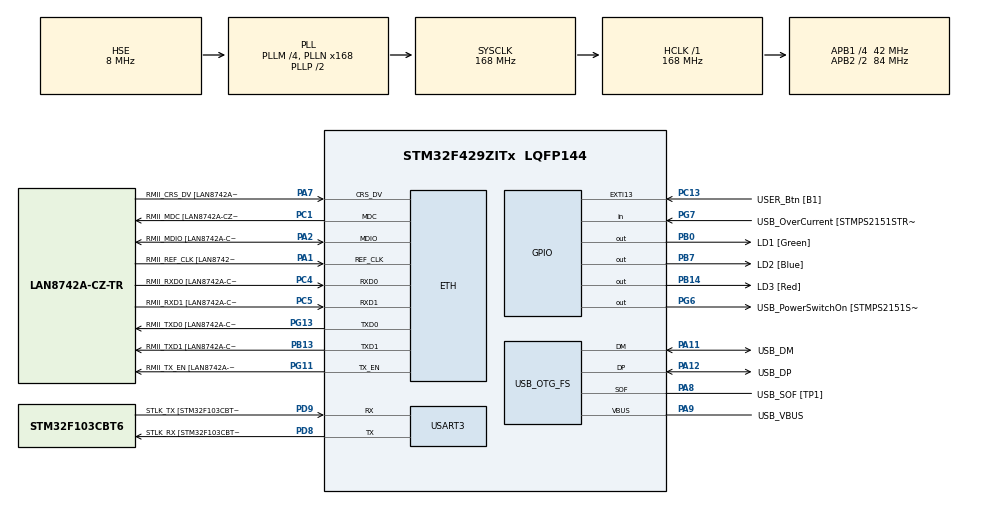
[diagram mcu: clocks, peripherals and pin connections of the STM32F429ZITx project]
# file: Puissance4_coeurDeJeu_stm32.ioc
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Mcu.Family=STM32F4
RCC.CortexFreq_Value=168000000
PG6.Signal=GPIO_Output
PB14.GPIO_Label=LD3 [Red]
PG6.GPIO_Label=USB_PowerSwitchOn [STMPS2151STR_EN]
PA14.GPIO_Label=TCK
RCC.SYSCLKSourceVirtual=RCC_SYSCLKSOURCE_PLLCLK
PA11.Mode=Device_Only
PB0.GPIO_Label=LD1 [Green]
PC14/OSC32_IN.Mode=LSE-External-Oscillator
PC5.Mode=RMII
PC13.GPIO_Label=USER_Btn [B1]
PB13.GPIO_Label=RMII_TXD1 [LAN8742A-CZ-TR_TXD1]
PB13.Signal=ETH_TXD1
PG13.Signal=ETH_TXD0
PD9.Mode=Asynchronous
PG11.Signal=ETH_TX_EN
RCC.SYSCLKSource=RCC_SYSCLKSOURCE_PLLCLK
ProjectManager.StackSize=0x400
PA12.Signal=USB_OTG_FS_DP
ETH.PHY_Value=0
PH0/OSC_IN.Mode=HSE-External-Clock-Source
RCC.HCLKFreq_Value=168000000
RCC.APB2TimFreq_Value=168000000
PH1/OSC_OUT.Signal=RCC_OSC_OUT
PD8.Signal=USART3_TX
RCC.AHBFreq_Value=168000000
RCC.HSE_VALUE=8000000
RCC.PLLMUL=RCC_PLL_MUL9
PC4.GPIO_Label=RMII_RXD0 [LAN8742A-CZ-TR_RXD0]
PA14.Mode=Serial_Wire
PA10.GPIO_Label=USB_ID
PB7.Signal=GPIO_Output
PA8.Signal=USB_OTG_FS_SOF
PG13.Mode=RMII
ETH.PHY_Name=LAN8742A_PHY_ADDRESS
PH1/OSC_OUT.Mode=HSE-External-Clock-Source
PB7.GPIO_Label=LD2 [Blue]
Mcu.Package=LQFP144
PC14/OSC32_IN.Signal=RCC_OSC32_IN
PA2.GPIO_Label=RMII_MDIO [LAN8742A-CZ-TR_MDIO]
PA10.Signal=USB_OTG_FS_ID
USB_OTG_FS.VirtualMode=Device_Only
RCC.APB2CLKDivider=RCC_HCLK_DIV2
RCC.APB1TimFreq_Value=84000000
PG11.GPIO_Label=RMII_TX_EN [LAN8742A-CZ-TR_TXEN]
PC5.Signal=ETH_RXD1
PB13.Mode=RMII
PC4.Mode=RMII
PA7.Mode=RMII
PG7.Signal=GPIO_Input
PD9.GPIO_Label=STLK_TX [STM32F103CBT6_PA2]
PC13.Signal=GPXTI13
PA9.GPIO_Label=USB_VBUS
PC4.Signal=ETH_RXD0
PA11.GPIO_Label=USB_DM
PD9.Signal=USART3_RX
RCC.APB1CLKDivider=RCC_HCLK_DIV4
PG13.GPIO_Label=RMII_TXD0 [LAN8742A-CZ-TR_TXD0]
ETH.PhyAddress=0
PA12.GPIO_Label=USB_DP
PD8.GPIO_Label=STLK_RX [STM32F103CBT6_PA3]
PA13.Signal=SYS_JTMS-SWDIO
PA9.Mode=Activate_VBUS
PA8.GPIO_Label=USB_SOF [TP1]
ProjectManager.TargetToolchain=TrueSTUDIO
PA9.Signal=USB_OTG_FS_VBUS
RCC.USBFreq_Value=48000000
PD8.Mode=Asynchronous
PA1.Signal=ETH_REF_CLK
PB14.Signal=GPIO_Output
board=NUCLEO-F429ZI
RCC.VCOOutputFreq_Value=336000000
PH0/OSC_IN.Signal=RCC_OSC_IN
RCC.APB2Freq_Value=84000000
PA1.Mode=RMII
RCC.PRESCALERUSB=RCC_USBCLKSOURCE_PLL_DIV1_5
PG7.GPIO_Label=USB_OverCurrent [STMPS2151STR_FAULT]
PA1.GPIO_Label=RMII_REF_CLK [LAN8742A-CZ-TR_REFCLK0]
PC1.GPIO_Label=RMII_MDC [LAN8742A-CZ-TR_MDC]
PA13.Mode=Serial_Wire
Mcu.Name=STM32F429ZITx
PA2.Signal=ETH_MDIO
PA13.GPIO_Label=TMS
RCC.APB2TimCLKDivider=2
RCC.48MHZClocksFreq_Value=48000000
RCC.SYSCLKFreq_VALUE=168000000
ETH.MediaInterface=ETH_MEDIA_INTERFACE_RMII
PA7.GPIO_Label=RMII_CRS_DV [LAN8742A-CZ-TR_CRS_DV]
PA12.Mode=Device_Only
PC5.GPIO_Label=RMII_RXD1 [LAN8742A-CZ-TR_RXD1]
USART3.VirtualMode=VM_ASYNC
PC15/OSC32_OUT.Mode=LSE-External-Oscillator
PG11.Mode=RMII
PA11.Signal=USB_OTG_FS_DM
PA14.Signal=SYS_JTCK-SWCLK
ProjectManager.HeapSize=0x200
RCC.HSI_VALUE=16000000
PH0/OSC_IN.GPIO_Label=MCO [STM32F103CBT6_PA8]
RCC.PLLQ=7
NVIC.PriorityGroup=NVIC_PRIORITYGROUP_4
RCC.PLLM=4
RCC.PLLN=168
PA2.Mode=RMII
PC15/OSC32_OUT.Signal=RCC_OSC32_OUT
PA8.Mode=Activate_SOF_FS
RCC.APB1Freq_Value=42000000
PB0.Signal=GPIO_Output
PC1.Signal=ETH_MDC
PC1.Mode=RMII
PA7.Signal=ETH_CRS_DV

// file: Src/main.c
/* USER CODE BEGIN Header */
/**
  ******************************************************************************
  * @file           : main.c
  * @brief          : Main program body
  ******************************************************************************
  * @attention
  *
  * <h2><center>&copy; Copyright (c) 2020 STMicroelectronics.
  * All rights reserved.</center></h2>
  *
  * This software component is licensed by ST under BSD 3-Clause license,
  * the "License"; You may not use this file except in compliance with the
  * License. You may obtain a copy of the License at:
  *                        opensource.org/licenses/BSD-3-Clause
  *
  ******************************************************************************
  */
/* USER CODE END Header */

#include "main.h"

/* USER CODE BEGIN Includes */
#include<stdio.h>
#include"debug.h"
#include"game_p4.h"
#include<stdlib.h>
#include<stdint.h>
#include<unistd.h>
#include<pthread.h>
#include<semaphore.h>
#include"queue.h"
#include"leds_control.h"
#include<string.h>
/* USER CODE END Includes */

/* USER CODE BEGIN PTD */
//Game pads controls
typedef enum {
	PAD_1 = 49,
	PAD_2 = 50,
	DOWN_PAD = 100,
	LEFT_PAD = 108,
	RIGHT_PAD = 114,
	UP_PAD = 117
} Pads_controls;

//Pad command Identifier
typedef enum {
	NO_PAD, PAD_1_COMMAND, PAD_2_COMMAND
} Pad_Identifier;

// Victory type command enum.
typedef enum {
	LINE_VICTORY, COL_VICTORY, RIGHT_DIAG_VICTORY, LEFT_DIAG_VICTORY
} Display_victory_command;

//Game mode enum.
typedef enum {
	NUMBERS, CONNECT_4
} Display_mode_command;

//Game Status enum.
typedef enum {
	RESET, PLAY, GAME_END
} Display_status_command;

//Game move commands enum.
typedef enum {
	DOWN_COMMAND, UP_COMMAND, LEFT_COMMAND, RIGHT_COMMAND, NEXT_PLAYER_COMMAND
} Move_command;
/* USER CODE END PTD */

/* USER CODE BEGIN PD */
// ASCII and OFFSETS regulators.
#define LED_PANEL_OFFSET 1
#define TOP_ROW_OFFSET 1

#define WRITE_QUEUE_BUFFER_SIZE 8
#define READ_BUTTON_BUFFER_SIZE 4
#define READ_QUEUE_BUFFER_SIZE 3
/* USER CODE END PD */

ETH_HandleTypeDef heth;

UART_HandleTypeDef huart3;

PCD_HandleTypeDef hpcd_USB_OTG_FS;

/* USER CODE BEGIN PV */
//Global Static Vars, inter-thread communication.
static struct Queue* read_queue;
static struct Queue* write_queue;
static pthread_t thread_id;
static pthread_t write_thread_id_set;
//static pthread_t write_thread_id_blink;

static victory_infos_struct victory_infos;

//Defined colors table of structs.
static led colors[7] = { { COLOR_ON, COLOR_OFF, COLOR_OFF }, { COLOR_OFF,
		COLOR_ON,
		COLOR_OFF }, { COLOR_OFF, COLOR_OFF, COLOR_ON }, { COLOR_ON,
				COLOR_ON, COLOR_ON }, { COLOR_ON, COLOR_OFF, COLOR_ON }, { COLOR_ON,
						COLOR_ON, COLOR_OFF }, { COLOR_OFF, COLOR_OFF, COLOR_OFF } };

/* USER CODE END PV */

void SystemClock_Config(void);
static void MX_GPIO_Init(void);
static void MX_ETH_Init(void);
static void MX_USART3_UART_Init(void);
static void MX_USB_OTG_FS_PCD_Init(void);

/* USER CODE BEGIN 0 */

//Send message through queues, inter-thread communication.
void SendMessage(Queue_id queue, char* message, int message_length) {

	if (queue == QUEUE_READ) {
		if (message_length <= READ_QUEUE_BUFFER_SIZE) {
			add_to_Queue(read_queue, message);
			sem_post(&read_queue->semaphore);
			printf("Message sent.\n");
		} else
			printf("Send message Failed ! Buffer Overflow !\n");
	} else if (queue == QUEUE_WRITE) {
		if (message_length <= WRITE_QUEUE_BUFFER_SIZE) {
			add_to_Queue(write_queue, message);
			sem_post(&write_queue->semaphore);
			printf("Message sent.\n");
		} else
			printf("Send message Failed ! Buffer Overflow !\n");
	} else
		printf("Send message Failed ! Queue unidentified !\n");
}

//Receive message through queues, inter-thread communication.
int ReceiveMessage(Queue_id queue, char* message, int message_length) {
	if (queue == QUEUE_WRITE) {
		if (message_length >= WRITE_QUEUE_BUFFER_SIZE) {
			//sem_wait(&write_queue->semaphore);
			int status = del_from_Queue(write_queue, message);
			//printf("Message received.\n");
			return status;
		} else {
			printf("Receive message failed ! Buffer Overflow !\n");
			return -1;
		}
	} else if (queue == QUEUE_READ) {
		if (message_length >= READ_QUEUE_BUFFER_SIZE) {
			sem_wait(&read_queue->semaphore);
			del_from_Queue(read_queue, message);
			printf("Message received.\n");
			return 0;
		} else {
			printf("Receive message failed ! Buffer Overflow !\n");
			return -1;
		}
	}
	printf("Receive message failed ! Queue unidentified !\n");
	return -1;
}

//Input reading and decoding thread handler.
void *thread_handler_read(void* args) {
	char button_read[READ_BUTTON_BUFFER_SIZE];
	int error;
	char command[READ_QUEUE_BUFFER_SIZE];

	while (1) {
		//Get input.
		error = readbutton(button_read, (READ_BUTTON_BUFFER_SIZE + 1));
		if (error != 0)
			printf("%d\n", error);

		//Debug input print.
		if (button_read[3] == DOWN_PAD)
			printf("Button press read: %d %d %d %d\n", button_read[0],
					button_read[1], button_read[2], button_read[3]);

		//Process input.
		if (button_read[3] == DOWN_PAD && button_read[2] == UP_PAD) {
			if (button_read[1] == PAD_1) {
				command[0] = UP_COMMAND;
				command[1] = PAD_1_COMMAND;
			} else if (button_read[1] == PAD_2) {
				command[0] = UP_COMMAND;
				command[1] = PAD_2_COMMAND;
			}
		} else if (button_read[3] == DOWN_PAD && button_read[2] == DOWN_PAD) {
			if (button_read[1] == PAD_1) {
				command[0] = DOWN_COMMAND;
				command[1] = PAD_1_COMMAND;
			} else if (button_read[1] == PAD_2) {
				command[0] = DOWN_COMMAND;
				command[1] = PAD_2_COMMAND;
			}
		} else if (button_read[3] == DOWN_PAD && button_read[2] == LEFT_PAD) {
			if (button_read[1] == PAD_1) {
				command[0] = LEFT_COMMAND;
				command[1] = PAD_1_COMMAND;
			} else if (button_read[1] == PAD_2) {
				command[0] = LEFT_COMMAND;
				command[1] = PAD_2_COMMAND;
			}
		} else if (button_read[3] == DOWN_PAD && button_read[2] == RIGHT_PAD) {
			if (button_read[1] == PAD_1) {
				command[0] = RIGHT_COMMAND;
				command[1] = PAD_1_COMMAND;
			} else if (button_read[1] == PAD_2) {
				command[0] = RIGHT_COMMAND;
				command[1] = PAD_2_COMMAND;
			}
		} else
			continue;

		//Send processed command to read queue.
		SendMessage(QUEUE_READ, command, READ_QUEUE_BUFFER_SIZE);
	}
	pthread_detach(pthread_self());
	pthread_exit(NULL);
	return 0;
}

void *thread_handler_app(void* args) {

	//Game initializations.
	initialize_victory_struct();
	debug_setlevel(2);
	gp4_init();
	int restart = 0;
	move_t move;
	move.player = 1;
	char tmp_message[WRITE_QUEUE_BUFFER_SIZE];
	char tmp_command[READ_QUEUE_BUFFER_SIZE];
	while (1) {
		if (restart != 0) {
			initialize_victory_struct();
			gp4_init();
			restart = 0;
			move.player = 1;
			sleep(1);
		}
		while (1) {
			//Wait message from reading queue.
			ReceiveMessage(QUEUE_READ, tmp_command, READ_QUEUE_BUFFER_SIZE);
			printf("App handler received: %d %d\n", tmp_command[0], tmp_command[1]);

			//Process message from reading queue.

			//If DOWN button is pushed.
			if (tmp_command[0] == DOWN_COMMAND && tmp_command[1] == move.player) {
				move = gp4_play_token();
				tmp_message[0] = CONNECT_4;
				tmp_message[1] = PLAY;
				tmp_message[2] = DOWN_COMMAND;
				tmp_message[3] = move.player_color;
				tmp_message[4] = move.beg.l;
				tmp_message[5] = move.beg.c;
				tmp_message[6] = move.end.l;
				tmp_message[7] = move.end.c;
				SendMessage(QUEUE_WRITE, tmp_message, WRITE_QUEUE_BUFFER_SIZE);
				sleep(1);
				victory_infos = gp4_check_winner();
				if (victory_infos.game_end != 0) {
					break;
				}
				move = gp4_next_player();
				tmp_message[0] = CONNECT_4;
				tmp_message[1] = PLAY;
				tmp_message[2] = NEXT_PLAYER_COMMAND;
				tmp_message[3] = move.player_color;
				tmp_message[4] = move.beg.l;
				tmp_message[5] = move.beg.c;
				tmp_message[6] = move.end.l;
				tmp_message[7] = move.end.c;
				SendMessage(QUEUE_WRITE, tmp_message, WRITE_QUEUE_BUFFER_SIZE);
				continue;
				//If LEFT button is pushed.
			} else if (tmp_command[0] == LEFT_COMMAND
					&& tmp_command[1] == move.player) {
				move = gp4_move_left();
				tmp_message[0] = CONNECT_4;
				tmp_message[1] = PLAY;
				tmp_message[2] = LEFT_COMMAND;
				tmp_message[3] = move.player_color;
				tmp_message[4] = move.beg.l;
				tmp_message[5] = move.beg.c;
				tmp_message[6] = move.end.l;
				tmp_message[7] = move.end.c;
				SendMessage(QUEUE_WRITE, tmp_message, WRITE_QUEUE_BUFFER_SIZE);
				continue;
				//If RIGHT button is pushed.
			} else if (tmp_command[0] == RIGHT_COMMAND
					&& tmp_command[1] == move.player) {
				move = gp4_move_right();
				tmp_message[0] = CONNECT_4;
				tmp_message[1] = PLAY;
				tmp_message[2] = RIGHT_COMMAND;
				tmp_message[3] = move.player_color;
				tmp_message[4] = move.beg.l;
				tmp_message[5] = move.beg.c;
				tmp_message[6] = move.end.l;
				tmp_message[7] = move.end.c;
				SendMessage(QUEUE_WRITE, tmp_message, WRITE_QUEUE_BUFFER_SIZE);
				continue;
			}
		}
		//Victory processing
		if (victory_infos.game_end == 1) {
			printf("Game end : %d\nWinner: %d\nVictory Type : %d\n",
					victory_infos.game_end, victory_infos.winner_player,
					victory_infos.victory_type);
			printf("Coordonnées du jeton de victoire: Ligne %d Colonne %d\n",
					victory_infos.victory_token_coord[0] + 1,
					victory_infos.victory_token_coord[1] + 1);
			printf(
					"Alignement victorieux:\nJeton 1: Ligne %d Colonne %d\nJeton 2: Ligne %d Colonne %d\nJeton 3: Ligne"
					" %d Colonne %d\nJeton 4: Ligne %d Colonne %d\n",
					victory_infos.victory_line_tokens_coord[0][0] + 1,
					victory_infos.victory_line_tokens_coord[0][1] + 1,
					victory_infos.victory_line_tokens_coord[1][0] + 1,
					victory_infos.victory_line_tokens_coord[1][1] + 1,
					victory_infos.victory_line_tokens_coord[2][0] + 1,
					victory_infos.victory_line_tokens_coord[2][1] + 1,
					victory_infos.victory_line_tokens_coord[3][0] + 1,
					victory_infos.victory_line_tokens_coord[3][1] + 1);
			printf("\n");
			//Victory Blink coordinates processing.
			if (victory_infos.victory_type == HORIZONTAL) {
				tmp_message[2] = LINE_VICTORY;
			} else if (victory_infos.victory_type == VERTICAL) {
				tmp_message[2] = COL_VICTORY;
			} else if (victory_infos.victory_type == RIGHT_DIAGONAL) {
				tmp_message[2] = RIGHT_DIAG_VICTORY;
			} else if (victory_infos.victory_type == LEFT_DIAGONAL) {
				tmp_message[2] = LEFT_DIAG_VICTORY;
			}
			tmp_message[0] = CONNECT_4;
			tmp_message[1] = GAME_END;
			tmp_message[3] = move.player_color;
			tmp_message[4] = victory_infos.victory_line_tokens_coord[0][0];
			tmp_message[5] = victory_infos.victory_line_tokens_coord[0][1];
			tmp_message[6] = victory_infos.victory_line_tokens_coord[3][0];
			tmp_message[7] = victory_infos.victory_line_tokens_coord[3][1];
			SendMessage(QUEUE_WRITE, tmp_message, WRITE_QUEUE_BUFFER_SIZE);
		} else if (victory_infos.game_end == 2) {
			printf("Draw. Game Over.\n");
		}
		sleep(60);
		//Emptying Grid (turn leds off).
		tmp_message[0] = CONNECT_4;
		tmp_message[1] = RESET;
		tmp_message[2] = 0;
		tmp_message[3] = 0;
		tmp_message[4] = 0;
		tmp_message[5] = 0;
		tmp_message[6] = 0;
		tmp_message[7] = 0;
		SendMessage(QUEUE_WRITE, tmp_message, WRITE_QUEUE_BUFFER_SIZE);
		sleep(5);
		restart += 1;
	}
	pthread_detach(pthread_self());
	pthread_exit(NULL);
	return 0;
}

//Led panel controlling handler and blinking handler. 2 THREADS !.
void *thread_handler_write(void* args) {
	int receive_count = 1;
	char tmp_message_write[8];
	tmp_message_write[3] = 1;
	setLedColor(1, 1, colors[GREEN].RValue, colors[GREEN].GValue,
			colors[GREEN].BValue);
	while (1) {
		//if (pthread_self() == write_thread_id_set) {
		//Wait message from writing queue.
		if (ReceiveMessage(QUEUE_WRITE, tmp_message_write,
				WRITE_QUEUE_BUFFER_SIZE) == 0) {
			printf("Write handler received: %d %d %d %d %d %d %d %d\n",
					tmp_message_write[0], tmp_message_write[1],
					tmp_message_write[2], tmp_message_write[3],
					tmp_message_write[4], tmp_message_write[5],
					tmp_message_write[6], tmp_message_write[7]);

			if (tmp_message_write[0] == CONNECT_4) {

				//Console Display
				gp4_display();
				//Empty grid condition.
				if (tmp_message_write[1] == RESET) {
					for (int row = 2; row < 8; row++) {
						for (int col = 1; col < 8; col++) {
							setLedColor(row, col, colors[BLACK].RValue,
									colors[BLACK].GValue, colors[BLACK].BValue);
						}
					}
					break;
				}
				receive_count += 1;
				if (tmp_message_write[1] == PLAY) {
					//If DOWN button pressed. Validation animation.
					if (tmp_message_write[2] == DOWN_COMMAND) {
						printf("VALIDATION\n");
						receive_count = 0;
						for (int row = 2;
								row <= (tmp_message_write[6] + LED_PANEL_OFFSET);
								row++) {
							setLedColor(row - 1,
									(tmp_message_write[7] + LED_PANEL_OFFSET),
									colors[BLACK].RValue, colors[BLACK].GValue,
									colors[BLACK].BValue);
							setLedColor(row,
									(tmp_message_write[7] + LED_PANEL_OFFSET),
									colors[(int) tmp_message_write[3]].RValue,
									colors[(int) tmp_message_write[3]].GValue,
									colors[(int) tmp_message_write[3]].BValue);
							usleep(150000);
						}
						//If LEFT or RIGHT button pressed. Side move animation.
					} else if (tmp_message_write[2] == LEFT_COMMAND
							|| tmp_message_write[2] == RIGHT_COMMAND) {
						setLedColor(1,
								(tmp_message_write[5] + LED_PANEL_OFFSET),
								colors[BLACK].RValue, colors[BLACK].GValue,
								colors[BLACK].BValue);
						setLedColor(1,
								(tmp_message_write[7] + LED_PANEL_OFFSET),
								colors[(int) tmp_message_write[3]].RValue,
								colors[(int) tmp_message_write[3]].GValue,
								colors[(int) tmp_message_write[3]].BValue);
						//Next Player animation, change color and replace play token.
					} else if (tmp_message_write[2] == NEXT_PLAYER_COMMAND) {
						setLedColor(1,
								(tmp_message_write[7] + LED_PANEL_OFFSET),
								colors[(int) tmp_message_write[3]].RValue,
								colors[(int) tmp_message_write[3]].GValue,
								colors[(int) tmp_message_write[3]].BValue);
					}
					//Line victory blink.
				} else if (tmp_message_write[1] == GAME_END) {
					if (tmp_message_write[2] == LINE_VICTORY) {
						receive_count = 0;
						for (int count = 0; count < 30; count++) {
							for (int col = (tmp_message_write[5]
															  + LED_PANEL_OFFSET);
									col
									<= (tmp_message_write[7]
														  + LED_PANEL_OFFSET);
									col++) {
								setLedColor(
										tmp_message_write[4] + LED_PANEL_OFFSET
										+ TOP_ROW_OFFSET, col,
										colors[BLACK].RValue,
										colors[BLACK].GValue,
										colors[BLACK].BValue);
							}
							sleep(1);
							for (int col = (tmp_message_write[5]
															  + LED_PANEL_OFFSET);
									col
									<= (tmp_message_write[7]
														  + LED_PANEL_OFFSET);
									col++) {
								setLedColor(
										tmp_message_write[4] + LED_PANEL_OFFSET
										+ TOP_ROW_OFFSET, col,
										colors[(int) tmp_message_write[3]].RValue,
										colors[(int) tmp_message_write[3]].GValue,
										colors[(int) tmp_message_write[3]].BValue);
							}
							sleep(1);
						}
						//Column victory blink.
					} else if (tmp_message_write[2] == COL_VICTORY) {
						receive_count = 0;
						for (int count = 0; count < 30; count++) {
							for (int row = (tmp_message_write[4]
															  + LED_PANEL_OFFSET + TOP_ROW_OFFSET);
									row
									<= (tmp_message_write[6]
														  + LED_PANEL_OFFSET
														  + TOP_ROW_OFFSET); row++) {
								setLedColor(row,
										tmp_message_write[5] + LED_PANEL_OFFSET,
										colors[BLACK].RValue,
										colors[BLACK].GValue,
										colors[BLACK].BValue);
							}
							sleep(1);
							for (int row = (tmp_message_write[4]
															  + LED_PANEL_OFFSET + TOP_ROW_OFFSET);
									row
									<= (tmp_message_write[6]
														  + LED_PANEL_OFFSET
														  + TOP_ROW_OFFSET); row++) {
								setLedColor(row,
										tmp_message_write[5] + LED_PANEL_OFFSET,
										colors[(int) tmp_message_write[3]].RValue,
										colors[(int) tmp_message_write[3]].GValue,
										colors[(int) tmp_message_write[3]].BValue);
							}
							sleep(1);
						}
						//Right diagonal victory blink.
					} else if (tmp_message_write[2] == RIGHT_DIAG_VICTORY) {
						receive_count = 0;
						int win_row, win_col;
						for (int count = 0; count < 30; count++) {
							win_row = tmp_message_write[4] + LED_PANEL_OFFSET
									+ TOP_ROW_OFFSET;
							win_col = tmp_message_write[5] + LED_PANEL_OFFSET;
							for (int tokens = 0; tokens < 4; tokens++) {
								setLedColor(win_row, win_col,
										colors[BLACK].RValue,
										colors[BLACK].GValue,
										colors[BLACK].BValue);
								win_row++, win_col++;
							}
							sleep(1);
							win_row = tmp_message_write[4] + LED_PANEL_OFFSET
									+ TOP_ROW_OFFSET;
							win_col = tmp_message_write[5] + LED_PANEL_OFFSET;
							for (int tokens = 0; tokens < 4; tokens++) {
								setLedColor(win_row, win_col,
										colors[(int) tmp_message_write[3]].RValue,
										colors[(int) tmp_message_write[3]].GValue,
										colors[(int) tmp_message_write[3]].BValue);
								win_row++, win_col++;
							}
							sleep(1);
						}
						//Left diagonal victory blink.
					} else if (tmp_message_write[2] == LEFT_DIAG_VICTORY) {
						receive_count = 0;
						int win_row, win_col;
						for (int count = 0; count < 30; count++) {
							win_row = tmp_message_write[4] + LED_PANEL_OFFSET
									+ TOP_ROW_OFFSET;
							win_col = tmp_message_write[5] + LED_PANEL_OFFSET;
							for (int tokens = 0; tokens < 4; tokens++) {
								setLedColor(win_row, win_col,
										colors[BLACK].RValue,
										colors[BLACK].GValue,
										colors[BLACK].BValue);
								win_row--, win_col++;
							}
							sleep(1);
							win_row = tmp_message_write[4] + LED_PANEL_OFFSET
									+ TOP_ROW_OFFSET;
							win_col = tmp_message_write[5] + LED_PANEL_OFFSET;
							for (int tokens = 0; tokens < 4; tokens++) {
								setLedColor(win_row, win_col,
										colors[(int) tmp_message_write[3]].RValue,
										colors[(int) tmp_message_write[3]].GValue,
										colors[(int) tmp_message_write[3]].BValue);
								win_row--, win_col++;
							}
							sleep(1);
						}
					}
				}
			}
			//Play token blinking thread. receive_count is used to sync/stop blinking when necessary.
		} else {			// if (pthread_self() == write_thread_id_blink) {
			if (receive_count > 0) {
				setLedColor(1, (tmp_message_write[7] + LED_PANEL_OFFSET),
						colors[(int) tmp_message_write[3]].RValue,
						colors[(int) tmp_message_write[3]].GValue,
						colors[(int) tmp_message_write[3]].BValue);
				usleep(250000);
				setLedColor(1, (tmp_message_write[7] + LED_PANEL_OFFSET),
						colors[BLACK].RValue, colors[BLACK].GValue,
						colors[BLACK].BValue);
				usleep(250000);
			} else
				usleep(500000);
		}
	}
	pthread_detach(pthread_self());
	pthread_exit(NULL);
	return 0;
}
/* USER CODE END 0 */

int main(void)
{

  /* MCU Configuration--------------------------------------------------------*/

  /* Reset of all peripherals, Initializes the Flash interface and the Systick. */
  HAL_Init();

  /* Configure the system clock */
  SystemClock_Config();

  /* Initialize all configured peripherals */
  MX_GPIO_Init();
  MX_ETH_Init();
  MX_USART3_UART_Init();
  MX_USB_OTG_FS_PCD_Init();

  /* Infinite loop */
  while (1)
  {

		openLink();
		read_queue = create_Queue();
		write_queue = create_Queue();

		pthread_create(&thread_id, NULL, thread_handler_read, (void*) &thread_id);
		pthread_create(&write_thread_id_set, NULL, thread_handler_write,
				(void*) &write_thread_id_set);
		//pthread_create(&write_thread_id_blink, NULL, thread_handler_write,
		//		(void*) &write_thread_id_blink);
		pthread_create(&thread_id, NULL, thread_handler_app, (void*) &thread_id);
		pthread_join(thread_id, NULL);
		printf("Fin du programme.");
		closeLink();

		return 0;
  }
}

void SystemClock_Config(void)
{
  RCC_OscInitTypeDef RCC_OscInitStruct = {0};
  RCC_ClkInitTypeDef RCC_ClkInitStruct = {0};

  /** Configure the main internal regulator output voltage
  */
  __HAL_RCC_PWR_CLK_ENABLE();
  __HAL_PWR_VOLTAGESCALING_CONFIG(PWR_REGULATOR_VOLTAGE_SCALE1);
  /** Initializes the CPU, AHB and APB busses clocks
  */
  RCC_OscInitStruct.OscillatorType = RCC_OSCILLATORTYPE_HSE;
  RCC_OscInitStruct.HSEState = RCC_HSE_BYPASS;
  RCC_OscInitStruct.PLL.PLLState = RCC_PLL_ON;
  RCC_OscInitStruct.PLL.PLLSource = RCC_PLLSOURCE_HSE;
  RCC_OscInitStruct.PLL.PLLM = 4;
  RCC_OscInitStruct.PLL.PLLN = 168;
  RCC_OscInitStruct.PLL.PLLP = RCC_PLLP_DIV2;
  RCC_OscInitStruct.PLL.PLLQ = 7;
  if (HAL_RCC_OscConfig(&RCC_OscInitStruct) != HAL_OK)
  {
    Error_Handler();
  }
  /** Initializes the CPU, AHB and APB busses clocks
  */
  RCC_ClkInitStruct.ClockType = RCC_CLOCKTYPE_HCLK|RCC_CLOCKTYPE_SYSCLK
                              |RCC_CLOCKTYPE_PCLK1|RCC_CLOCKTYPE_PCLK2;
  RCC_ClkInitStruct.SYSCLKSource = RCC_SYSCLKSOURCE_PLLCLK;
  RCC_ClkInitStruct.AHBCLKDivider = RCC_SYSCLK_DIV1;
  RCC_ClkInitStruct.APB1CLKDivider = RCC_HCLK_DIV4;
  RCC_ClkInitStruct.APB2CLKDivider = RCC_HCLK_DIV2;

  if (HAL_RCC_ClockConfig(&RCC_ClkInitStruct, FLASH_LATENCY_5) != HAL_OK)
  {
    Error_Handler();
  }
}

static void MX_ETH_Init(void)
{

  heth.Instance = ETH;
  heth.Init.AutoNegotiation = ETH_AUTONEGOTIATION_ENABLE;
  heth.Init.PhyAddress = LAN8742A_PHY_ADDRESS;
  heth.Init.MACAddr[0] =   0x00;
  heth.Init.MACAddr[1] =   0x80;
  heth.Init.MACAddr[2] =   0xE1;
  heth.Init.MACAddr[3] =   0x00;
  heth.Init.MACAddr[4] =   0x00;
  heth.Init.MACAddr[5] =   0x00;
  heth.Init.RxMode = ETH_RXPOLLING_MODE;
  heth.Init.ChecksumMode = ETH_CHECKSUM_BY_HARDWARE;
  heth.Init.MediaInterface = ETH_MEDIA_INTERFACE_RMII;

  if (HAL_ETH_Init(&heth) != HAL_OK)
  {
    Error_Handler();
  }

}

static void MX_USART3_UART_Init(void)
{

  huart3.Instance = USART3;
  huart3.Init.BaudRate = 115200;
  huart3.Init.WordLength = UART_WORDLENGTH_8B;
  huart3.Init.StopBits = UART_STOPBITS_1;
  huart3.Init.Parity = UART_PARITY_NONE;
  huart3.Init.Mode = UART_MODE_TX_RX;
  huart3.Init.HwFlowCtl = UART_HWCONTROL_NONE;
  huart3.Init.OverSampling = UART_OVERSAMPLING_16;
  if (HAL_UART_Init(&huart3) != HAL_OK)
  {
    Error_Handler();
  }

}

static void MX_USB_OTG_FS_PCD_Init(void)
{

  hpcd_USB_OTG_FS.Instance = USB_OTG_FS;
  hpcd_USB_OTG_FS.Init.dev_endpoints = 4;
  hpcd_USB_OTG_FS.Init.speed = PCD_SPEED_FULL;
  hpcd_USB_OTG_FS.Init.dma_enable = DISABLE;
  hpcd_USB_OTG_FS.Init.phy_itface = PCD_PHY_EMBEDDED;
  hpcd_USB_OTG_FS.Init.Sof_enable = ENABLE;
  hpcd_USB_OTG_FS.Init.low_power_enable = DISABLE;
  hpcd_USB_OTG_FS.Init.lpm_enable = DISABLE;
  hpcd_USB_OTG_FS.Init.vbus_sensing_enable = ENABLE;
  hpcd_USB_OTG_FS.Init.use_dedicated_ep1 = DISABLE;
  if (HAL_PCD_Init(&hpcd_USB_OTG_FS) != HAL_OK)
  {
    Error_Handler();
  }

}

static void MX_GPIO_Init(void)
{
  GPIO_InitTypeDef GPIO_InitStruct = {0};

  /* GPIO Ports Clock Enable */
  __HAL_RCC_GPIOC_CLK_ENABLE();
  __HAL_RCC_GPIOH_CLK_ENABLE();
  __HAL_RCC_GPIOA_CLK_ENABLE();
  __HAL_RCC_GPIOB_CLK_ENABLE();
  __HAL_RCC_GPIOD_CLK_ENABLE();
  __HAL_RCC_GPIOG_CLK_ENABLE();

  /*Configure GPIO pin Output Level */
  HAL_GPIO_WritePin(GPIOB, LD1_Pin|LD3_Pin|LD2_Pin, GPIO_PIN_RESET);

  /*Configure GPIO pin Output Level */
  HAL_GPIO_WritePin(USB_PowerSwitchOn_GPIO_Port, USB_PowerSwitchOn_Pin, GPIO_PIN_RESET);

  /*Configure GPIO pin : USER_Btn_Pin */
  GPIO_InitStruct.Pin = USER_Btn_Pin;
  GPIO_InitStruct.Mode = GPIO_MODE_IT_RISING;
  GPIO_InitStruct.Pull = GPIO_NOPULL;
  HAL_GPIO_Init(USER_Btn_GPIO_Port, &GPIO_InitStruct);

  /*Configure GPIO pins : LD1_Pin LD3_Pin LD2_Pin */
  GPIO_InitStruct.Pin = LD1_Pin|LD3_Pin|LD2_Pin;
  GPIO_InitStruct.Mode = GPIO_MODE_OUTPUT_PP;
  GPIO_InitStruct.Pull = GPIO_NOPULL;
  GPIO_InitStruct.Speed = GPIO_SPEED_FREQ_LOW;
  HAL_GPIO_Init(GPIOB, &GPIO_InitStruct);

  /*Configure GPIO pin : USB_PowerSwitchOn_Pin */
  GPIO_InitStruct.Pin = USB_PowerSwitchOn_Pin;
  GPIO_InitStruct.Mode = GPIO_MODE_OUTPUT_PP;
  GPIO_InitStruct.Pull = GPIO_NOPULL;
  GPIO_InitStruct.Speed = GPIO_SPEED_FREQ_LOW;
  HAL_GPIO_Init(USB_PowerSwitchOn_GPIO_Port, &GPIO_InitStruct);

  /*Configure GPIO pin : USB_OverCurrent_Pin */
  GPIO_InitStruct.Pin = USB_OverCurrent_Pin;
  GPIO_InitStruct.Mode = GPIO_MODE_INPUT;
  GPIO_InitStruct.Pull = GPIO_NOPULL;
  HAL_GPIO_Init(USB_OverCurrent_GPIO_Port, &GPIO_InitStruct);

}

void Error_Handler(void)
{
}

/************************ (C) COPYRIGHT STMicroelectronics *****END OF FILE****/
